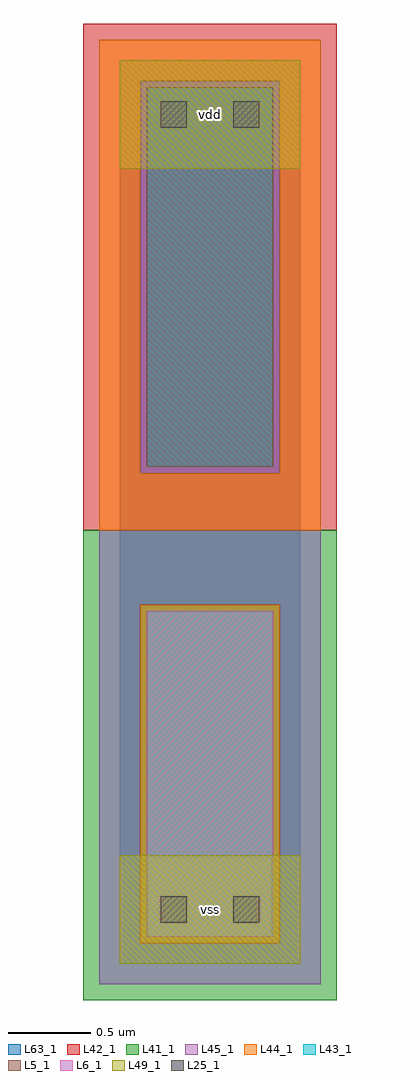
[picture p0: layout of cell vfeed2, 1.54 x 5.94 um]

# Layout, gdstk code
import gdstk
lib = gdstk.Library(unit=1e-6, precision=1e-09)
def R(c, l, rs):  # rectangles x0, y0, x1, y1
    for r in rs: c.add(gdstk.rectangle(r[:2], r[2:], *l))
L5_1 = (5, 1)
L6_1 = (6, 1)
L25_1 = (25, 1)
L41_1 = (41, 1)
L42_1 = (42, 1)
L43_1 = (43, 1)
L44_1 = (44, 1)
L45_1 = (45, 1)
L49_1 = (49, 1)
L63_1 = (63, 1)

vfeed2 = lib.new_cell('vfeed2')
R(vfeed2, L5_1, [(0.165,3.025,0.935,5.335)])
R(vfeed2, L6_1, [(0.165,0.165,0.935,2.145)])
R(vfeed2, L25_1, [(0.25,0.25,0.41,0.41), (0.69,0.25,0.85,0.41), (0.25,5.09,0.41,5.25), (0.69,5.09,0.85,5.25)])
R(vfeed2, L41_1, [(-0.22,-0.22,1.32,2.64)])
R(vfeed2, L42_1, [(-0.22,2.64,1.32,5.72)])
R(vfeed2, L43_1, [(0.165,0.165,0.935,2.145), (0.165,3.025,0.935,5.335)])
R(vfeed2, L44_1, [(0.125,0.125,0.975,2.185), (-0.125,2.64,1.225,2.985), (-0.125,2.985,0.125,5.375), (0.975,2.985,1.225,5.375), (-0.125,5.375,1.225,5.625)])
R(vfeed2, L45_1, [(-0.125,-0.125,1.225,0.125), (-0.125,0.125,0.125,2.185), (0.975,0.125,1.225,2.185), (-0.125,2.185,1.225,2.64), (0.125,2.985,0.975,5.375)])
R(vfeed2, L49_1, [(0,0,1.1,0.66), (0,4.84,1.1,5.5)])
R(vfeed2, L63_1, [(0,0,1.1,5.5)])
vfeed2.add(gdstk.Label('vss', (0.55,0.33), layer=49, texttype=1))
vfeed2.add(gdstk.Label('vdd', (0.55,5.17), layer=49, texttype=1))

lib.write_gds('vfeed2.gds')
